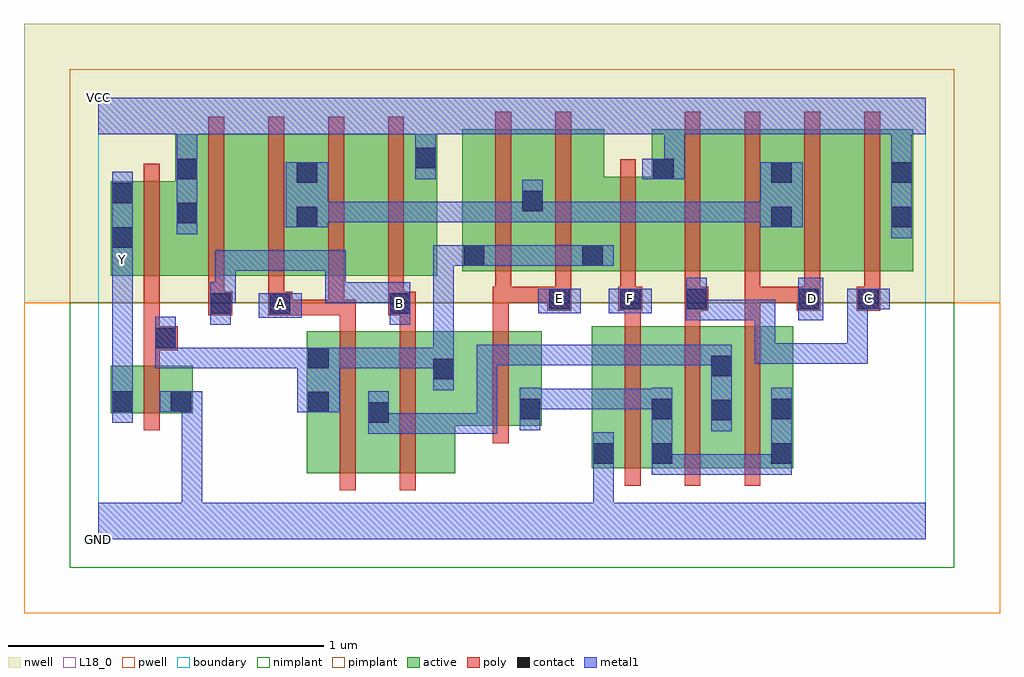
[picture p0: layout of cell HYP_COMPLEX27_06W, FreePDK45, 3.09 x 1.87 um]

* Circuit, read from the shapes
.subckt HYP_COMPLEX27_06W A B C D E F GND VCC Y
M1 GND n1 Y VSUBS nfet w=0.15u l=0.05u
M2 n2 A n1 VSUBS nfet w=0.45u l=0.05u
M3 n1 B n2 VSUBS nfet w=0.45u l=0.05u
M4 n3 E n1 VSUBS nfet w=0.3u l=0.05u
M5 n3 F GND VSUBS nfet w=0.45u l=0.05u
M6 n2 C n3 VSUBS nfet w=0.45u l=0.05u
M7 n3 D n2 VSUBS nfet w=0.45u l=0.05u
M8 VCC n1 Y n4 pfet w=0.3u l=0.05u
M9 n5 B VCC n4 pfet w=0.45u l=0.05u
M10 n6 A n5 n4 pfet w=0.45u l=0.05u
M11 n7 A n6 n4 pfet w=0.45u l=0.05u
M12 VCC B n7 n4 pfet w=0.45u l=0.05u
M13 n6 E n1 n4 pfet w=0.45u l=0.05u m=2
M14 VCC F n1 n4 pfet w=0.3u l=0.05u
M15 n8 C VCC n4 pfet w=0.45u l=0.05u
M16 n6 D n8 n4 pfet w=0.45u l=0.05u
M17 n9 D n6 n4 pfet w=0.45u l=0.05u
M18 VCC C n9 n4 pfet w=0.45u l=0.05u
.ends

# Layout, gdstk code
import gdstk
lib = gdstk.Library(unit=1e-6, precision=1e-09)
def R(c, l, rs):  # rectangles x0, y0, x1, y1
    for r in rs: c.add(gdstk.rectangle(r[:2], r[2:], *l))
def A(c, l, x, y, w, h, nx, ny, dx, dy):  # array of equal rectangles
    R(c, l, [(x+i*dx, y+j*dy, x+i*dx+w, y+j*dy+h) for i in range(nx) for j in range(ny)])
active = (1, 0)
pwell = (2, 0)
nwell = (3, 0)
nimplant = (4, 0)
pimplant = (5, 0)
poly = (9, 0)
contact = (10, 0)
metal1 = (11, 0)
L18_0 = (18, 0)
boundary = (235, 0)

hyp_complex27_06w = lib.new_cell('HYP_COMPLEX27_06W')
R(hyp_complex27_06w, active, [(0.662,0.21,0.927,0.66), (0.852,0.21,1.132,0.66), (1.565,0.225,1.825,0.675), (1.75,0.225,2.015,0.675), (1.94,0.225,2.205,0.675), (0.662,0.232,0.737,0.66), (0.852,0.232,0.927,0.542), (1.565,0.232,1.64,0.542), (1.75,0.232,1.825,0.542), (2.13,0.232,2.205,0.675), (1.94,0.245,2.015,0.587), (1.057,0.33,1.132,0.577), (1.057,0.36,1.407,0.66), (1.332,0.36,1.407,0.547), (0.04,0.4,0.115,0.55), (0.04,0.4,0.3,0.55), (0.225,0.4,0.3,0.55), (0.04,0.835,0.32,1.135), (0.04,0.835,0.115,1.135), (0.245,0.835,0.32,1.285), (0.245,0.835,0.47,1.285), (0.47,0.835,0.7,1.285), (0.625,0.835,0.85,1.285), (0.625,0.835,0.7,1.2), (0.85,0.835,1.075,1.285), (1.155,0.85,1.415,1.3), (1.155,0.85,1.23,1.047), (1.34,0.85,1.605,1.3), (1.34,0.85,1.415,1.2), (1.53,0.85,1.83,1.15), (1.755,0.85,1.98,1.3), (1.98,0.85,2.205,1.3), (2.13,0.85,2.36,1.3), (2.13,0.85,2.205,1.2), (2.36,0.85,2.585,1.3), (2.51,0.85,2.585,1.3), (1,0.857,1.075,1.285), (1.53,0.862,1.605,1.07), (1.755,0.917,1.83,1.212)])
R(hyp_complex27_06w, pwell, [(-0.235,-0.235,2.86,0.75)])
R(hyp_complex27_06w, nwell, [(-0.235,0.75,2.86,1.635)])
R(hyp_complex27_06w, nimplant, [(-0.09,-0.09,2.715,0.75)])
R(hyp_complex27_06w, pimplant, [(-0.09,0.75,2.715,1.49)])
A(hyp_complex27_06w, poly, 1.67, 0.17, 0.05, 0.56, 3, 1, 0.19, 0)
A(hyp_complex27_06w, poly, 1.45, 0.75, 0.05, 0.095, 3, 1, 0.205, 0)
A(hyp_complex27_06w, poly, 2.05, 0.75, 0.05, 0.095, 3, 1, 0.19, 0)
A(hyp_complex27_06w, poly, 0.35, 0.78, 0.05, 0.56, 4, 1, 0.19, 0)
A(hyp_complex27_06w, poly, 1.86, 0.795, 0.05, 0.56, 4, 1, 0.19, 0)
R(hyp_complex27_06w, poly, [(0.767,0.155,0.817,0.715), (0.957,0.155,1.007,0.715), (1.252,0.305,1.302,0.715), (0.145,0.345,0.195,0.605), (0.145,0.555,0.195,0.65), (0.145,0.6,0.252,0.675), (0.145,0.625,0.195,0.83), (0.767,0.665,0.817,0.76), (0.957,0.665,1.007,0.76), (1.252,0.665,1.302,0.8), (1.67,0.68,1.72,0.775), (1.86,0.68,1.91,0.775), (2.05,0.68,2.1,0.8), (0.35,0.71,0.425,0.785), (0.54,0.71,0.615,0.785), (0.565,0.71,0.615,0.76), (0.565,0.71,0.615,0.76), (0.565,0.71,0.78,0.76), (0.73,0.71,0.78,0.83), (0.73,0.71,0.817,0.76), (0.92,0.71,1.007,0.785), (1.425,0.725,1.5,0.8), (1.65,0.725,1.725,0.8), (1.86,0.725,1.935,0.8), (2.215,0.725,2.29,0.8), (2.405,0.725,2.48,0.8), (0.35,0.735,0.4,0.83), (0.54,0.735,0.59,0.83), (0.92,0.735,0.97,0.83), (1.252,0.75,1.31,0.8), (1.26,0.75,1.31,0.845), (1.26,0.75,1.31,0.8), (1.26,0.75,1.31,0.8), (1.26,0.75,1.475,0.8), (2.05,0.75,2.1,0.8), (2.05,0.75,2.265,0.8), (2.215,0.75,2.265,0.8), (2.215,0.75,2.265,0.8), (0.145,0.78,0.195,1.19), (1.26,0.795,1.31,1.355), (1.45,0.795,1.5,1.355), (1.655,0.795,1.705,1.205)])
R(hyp_complex27_06w, contact, [(1.57,0.24,1.635,0.305), (1.755,0.24,1.82,0.305), (2.135,0.24,2.2,0.305), (0.857,0.37,0.922,0.435), (1.945,0.377,2.01,0.442), (1.337,0.38,1.402,0.445), (1.755,0.38,1.82,0.445), (2.135,0.38,2.2,0.445), (0.667,0.402,0.732,0.467), (0.045,0.405,0.11,0.47), (0.23,0.405,0.295,0.47), (1.062,0.507,1.127,0.572), (1.945,0.517,2.01,0.582), (0.667,0.542,0.732,0.607), (0.182,0.605,0.247,0.67), (0.355,0.715,0.42,0.78), (0.545,0.715,0.61,0.78), (0.925,0.715,0.99,0.78), (1.43,0.73,1.495,0.795), (1.655,0.73,1.72,0.795), (1.865,0.73,1.93,0.795), (2.22,0.73,2.285,0.795), (2.41,0.73,2.475,0.795), (1.16,0.867,1.225,0.932), (1.535,0.867,1.6,0.932), (0.045,0.925,0.11,0.99), (0.63,0.99,0.695,1.055), (2.135,0.99,2.2,1.055), (2.515,0.99,2.58,1.055), (0.25,1.002,0.315,1.067), (1.345,1.04,1.41,1.105), (0.045,1.065,0.11,1.13), (0.63,1.13,0.695,1.195), (2.135,1.13,2.2,1.195), (2.515,1.13,2.58,1.195), (0.25,1.142,0.315,1.207), (1.76,1.142,1.825,1.207), (1.005,1.177,1.07,1.242)])
R(hyp_complex27_06w, metal1, [(0,0,2.625,0.115), (0.265,0.05,0.33,0.115), (0.265,0.05,0.33,0.115), (0.265,0.05,0.33,0.47), (1.57,0.05,1.635,0.27), (1.57,0.205,1.635,0.27), (1.57,0.205,1.635,0.27), (1.57,0.205,1.635,0.34), (1.755,0.205,1.82,0.48), (1.755,0.205,1.957,0.27), (1.892,0.205,1.957,0.27), (1.892,0.205,1.957,0.27), (1.892,0.205,1.957,0.27), (1.892,0.205,2.147,0.27), (2.082,0.205,2.147,0.27), (2.082,0.205,2.2,0.27), (2.135,0.205,2.2,0.48), (0.857,0.335,0.922,0.4), (0.857,0.335,0.922,0.4), (0.857,0.335,0.922,0.47), (0.857,0.335,1.127,0.4), (1.062,0.335,1.127,0.4), (1.062,0.335,1.265,0.4), (1.2,0.335,1.265,0.4), (1.2,0.335,1.265,0.617), (1.945,0.342,2.01,0.617), (1.337,0.345,1.402,0.48), (0.045,0.37,0.11,0.505), (0.632,0.402,0.767,0.607), (0.195,0.405,0.33,0.47), (0.265,0.405,0.33,0.47), (0.265,0.405,0.33,0.47), (0.265,0.405,0.33,0.47), (0.265,0.405,0.33,0.47), (1.337,0.412,1.402,0.477), (1.337,0.412,1.402,0.477), (1.337,0.412,1.635,0.477), (1.57,0.412,1.635,0.477), (1.57,0.412,1.635,0.477), (1.57,0.412,1.635,0.477), (1.57,0.412,1.82,0.477), (0.045,0.44,0.11,0.885), (1.062,0.472,1.127,0.607), (0.182,0.542,0.247,0.607), (0.182,0.542,0.42,0.607), (0.182,0.542,0.247,0.635), (0.355,0.542,0.42,0.607), (0.355,0.542,0.42,0.607), (0.355,0.542,0.42,0.607), (0.355,0.542,0.645,0.607), (0.58,0.542,0.645,0.607), (0.58,0.542,0.697,0.607), (0.702,0.542,0.782,0.607), (0.717,0.542,0.782,0.607), (0.717,0.542,0.922,0.607), (0.857,0.542,0.922,0.607), (0.857,0.542,0.922,0.607), (0.857,0.542,0.922,0.607), (0.857,0.542,1.127,0.607), (1.062,0.542,1.127,0.932), (1.2,0.552,1.265,0.617), (1.2,0.552,1.265,0.617), (1.2,0.552,1.265,0.617), (1.2,0.552,1.427,0.617), (1.362,0.552,1.427,0.617), (1.362,0.552,1.427,0.617), (1.362,0.552,1.427,0.617), (1.362,0.552,1.565,0.617), (1.5,0.552,1.565,0.617), (1.5,0.552,1.565,0.617), (1.5,0.552,1.565,0.617), (1.5,0.552,1.82,0.617), (1.755,0.552,1.82,0.617), (1.755,0.552,1.957,0.617), (1.892,0.552,1.957,0.617), (1.892,0.552,2.01,0.617), (2.082,0.557,2.147,0.622), (2.082,0.557,2.302,0.622), (2.082,0.557,2.147,0.76), (2.237,0.557,2.302,0.622), (2.237,0.557,2.44,0.622), (2.375,0.557,2.44,0.622), (2.375,0.557,2.44,0.795), (0.182,0.57,0.247,0.635), (0.182,0.57,0.247,0.635), (0.182,0.57,0.247,0.705), (0.355,0.68,0.42,0.815), (0.925,0.68,0.99,0.815), (1.865,0.695,2.01,0.76), (1.865,0.695,1.93,0.83), (1.945,0.695,2.01,0.76), (1.945,0.695,2.147,0.76), (2.082,0.695,2.147,0.76), (2.082,0.695,2.147,0.76), (2.082,0.695,2.147,0.76), (2.22,0.695,2.3,0.83), (0.51,0.702,0.645,0.78), (1.395,0.717,1.53,0.795), (1.62,0.717,1.755,0.795), (2.375,0.73,2.44,0.795), (2.375,0.73,2.44,0.795), (2.375,0.73,2.51,0.795), (0.355,0.75,0.437,0.815), (0.372,0.75,0.437,0.815), (0.372,0.75,0.437,0.917), (0.72,0.75,0.785,0.815), (0.72,0.75,0.785,0.815), (0.72,0.75,0.785,0.815), (0.72,0.75,0.922,0.815), (0.72,0.75,0.785,0.917), (0.857,0.75,0.922,0.815), (0.857,0.75,0.99,0.815), (0.045,0.82,0.11,0.955), (0.372,0.852,0.437,0.917), (0.372,0.852,0.557,0.917), (0.492,0.852,0.557,0.917), (0.492,0.852,0.785,0.917), (0.72,0.852,0.785,0.917), (1.062,0.867,1.127,0.932), (1.062,0.867,1.19,0.932), (1.125,0.867,1.19,0.932), (1.125,0.867,1.19,0.932), (1.125,0.867,1.26,0.932), (1.195,0.867,1.265,0.932), (1.2,0.867,1.265,0.932), (1.2,0.867,1.427,0.932), (1.362,0.867,1.427,0.932), (1.362,0.867,1.427,0.932), (1.362,0.867,1.427,0.932), (1.362,0.867,1.565,0.932), (1.5,0.867,1.635,0.932), (0.045,0.89,0.11,1.165), (0.045,0.89,0.11,0.955), (2.515,0.955,2.58,1.23), (0.25,0.967,0.315,1.242), (0.595,0.99,0.73,1.195), (2.1,0.99,2.235,1.195), (0.665,1.005,0.782,1.07), (0.717,1.005,0.782,1.07), (0.717,1.005,0.932,1.07), (0.867,1.005,0.932,1.07), (0.867,1.005,0.932,1.07), (0.867,1.005,0.932,1.07), (0.867,1.005,1.127,1.07), (1.062,1.005,1.127,1.07), (1.062,1.005,1.265,1.07), (1.2,1.005,1.265,1.07), (1.2,1.005,1.265,1.07), (1.2,1.005,1.265,1.07), (1.2,1.005,1.41,1.07), (1.345,1.005,1.41,1.07), (1.345,1.005,1.41,1.07), (1.345,1.005,1.41,1.14), (1.345,1.005,1.635,1.07), (1.57,1.005,1.635,1.07), (1.57,1.005,1.772,1.07), (1.707,1.005,1.772,1.07), (1.707,1.005,1.772,1.07), (1.707,1.005,1.772,1.07), (1.707,1.005,1.772,1.07), (1.707,1.005,1.772,1.07), (1.707,1.005,1.957,1.07), (1.892,1.005,1.957,1.07), (1.892,1.005,1.957,1.07), (1.892,1.005,1.957,1.07), (1.892,1.005,2.095,1.07), (2.03,1.005,2.095,1.07), (2.03,1.005,2.165,1.07), (1.005,1.142,1.07,1.277), (1.725,1.142,1.86,1.207), (1.795,1.142,1.86,1.35), (2.515,1.165,2.58,1.35), (0.25,1.177,0.315,1.35), (1.005,1.212,1.07,1.35), (0,1.285,2.625,1.4)])
R(hyp_complex27_06w, L18_0, [(0,0,2.625,0.115), (0.265,0.05,0.33,0.115), (0.265,0.05,0.33,0.115), (0.265,0.05,0.33,0.47), (1.57,0.05,1.635,0.27), (1.57,0.205,1.635,0.34), (1.57,0.205,1.635,0.27), (1.57,0.205,1.635,0.27), (0.045,0.37,0.11,0.505), (0.195,0.405,0.33,0.47), (0.265,0.405,0.33,0.47), (0.265,0.405,0.33,0.47), (0.265,0.405,0.33,0.47), (0.265,0.405,0.33,0.47), (0.045,0.44,0.11,0.885), (2.082,0.557,2.147,0.622), (2.082,0.557,2.147,0.76), (2.082,0.557,2.302,0.622), (2.237,0.557,2.302,0.622), (2.237,0.557,2.44,0.622), (2.375,0.557,2.44,0.622), (2.375,0.557,2.44,0.795), (0.355,0.68,0.42,0.815), (0.925,0.68,0.99,0.815), (1.865,0.695,1.93,0.83), (1.865,0.695,2.01,0.76), (1.945,0.695,2.01,0.76), (1.945,0.695,2.147,0.76), (2.082,0.695,2.147,0.76), (2.082,0.695,2.147,0.76), (2.082,0.695,2.147,0.76), (2.22,0.695,2.3,0.83), (0.51,0.702,0.645,0.78), (0.545,0.715,0.61,0.78), (0.925,0.715,0.99,0.78), (1.395,0.717,1.53,0.795), (1.62,0.717,1.755,0.795), (1.43,0.73,1.495,0.795), (1.655,0.73,1.72,0.795), (2.235,0.73,2.3,0.795), (2.375,0.73,2.44,0.795), (2.375,0.73,2.44,0.795), (2.375,0.73,2.51,0.795), (2.41,0.73,2.475,0.795), (0.355,0.75,0.437,0.815), (0.372,0.75,0.437,0.815), (0.372,0.75,0.437,0.917), (0.72,0.75,0.785,0.815), (0.72,0.75,0.785,0.815), (0.72,0.75,0.785,0.815), (0.72,0.75,0.785,0.917), (0.72,0.75,0.922,0.815), (0.857,0.75,0.922,0.815), (0.857,0.75,0.99,0.815), (0.045,0.82,0.11,0.955), (0.372,0.852,0.437,0.917), (0.372,0.852,0.557,0.917), (0.492,0.852,0.557,0.917), (0.492,0.852,0.785,0.917), (0.72,0.852,0.785,0.917), (0.045,0.855,0.11,0.92), (0.045,0.89,0.11,1.165), (0.045,0.89,0.11,0.955), (2.515,0.955,2.58,1.23), (0.25,0.967,0.315,1.242), (1.005,1.142,1.07,1.277), (1.725,1.142,1.86,1.207), (1.795,1.142,1.86,1.35), (2.515,1.165,2.58,1.35), (0.25,1.177,0.315,1.35), (1.005,1.212,1.07,1.35), (0,1.285,2.625,1.4)])
R(hyp_complex27_06w, boundary, [(0,0,2.625,1.4)])
hyp_complex27_06w.add(gdstk.Label('A', (0.577,0.747), layer=11, texttype=0))
hyp_complex27_06w.add(gdstk.Label('B', (0.957,0.747), layer=11, texttype=0))
hyp_complex27_06w.add(gdstk.Label('C', (2.442,0.762), layer=11, texttype=0))
hyp_complex27_06w.add(gdstk.Label('D', (2.267,0.762), layer=11, texttype=0))
hyp_complex27_06w.add(gdstk.Label('E', (1.462,0.762), layer=11, texttype=0))
hyp_complex27_06w.add(gdstk.Label('F', (1.687,0.762), layer=11, texttype=0))
hyp_complex27_06w.add(gdstk.Label('Y', (0.077,0.887), layer=11, texttype=0))
hyp_complex27_06w.add(gdstk.Label('VCC', (0,1.4), layer=11, texttype=0))
hyp_complex27_06w.add(gdstk.Label('GND', (0,0), layer=11, texttype=0))

lib.write_gds('HYP_COMPLEX27_06W.gds')
